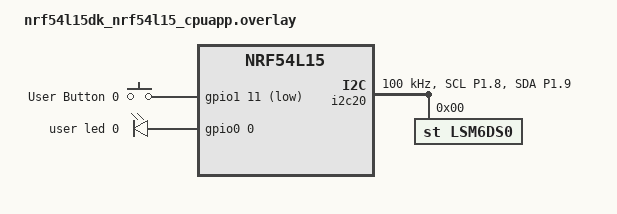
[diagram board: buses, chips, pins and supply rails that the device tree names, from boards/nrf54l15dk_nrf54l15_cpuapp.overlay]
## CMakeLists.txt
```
cmake_minimum_required(VERSION 3.20.0)

find_package(Zephyr REQUIRED HINTS $ENV{ZEPHYR_BASE})
project(ThaneHunt_Project)

# NORDIC SDK APP START
target_sources(app PRIVATE src/main.c)

# Add the component app_ble
target_sources(app PRIVATE
    components/app_ble/app_ble.c)
target_include_directories(app
    PRIVATE
    ${CMAKE_CURRENT_SOURCE_DIR}/components/app_ble
)

# Add the component app_button
target_sources(app PRIVATE
    components/app_button/app_button.c)
target_include_directories(app
    PRIVATE
    ${CMAKE_CURRENT_SOURCE_DIR}/components/app_button
)

# Add the component app_hid
target_sources(app PRIVATE
    components/app_hid/app_hid.c)
target_include_directories(app
    PRIVATE
    ${CMAKE_CURRENT_SOURCE_DIR}/components/app_hid
)

if(CONFIG_IMU_LSM6DSO)
    # Add the component app_imu
    target_sources(app PRIVATE
        components/app_imu/app_imu.c)
    target_include_directories(app
        PRIVATE
        ${CMAKE_CURRENT_SOURCE_DIR}/components/app_imu
    )
endif()

# Add the component app_keycodes
target_sources(app PRIVATE
    components/app_keycodes/app_keycodes.c)
target_include_directories(app
    PRIVATE
    ${CMAKE_CURRENT_SOURCE_DIR}/components/app_keycodes
)

# Add the component app_sleep
target_sources(app PRIVATE
    components/app_sleep/app_sleep.c)
target_include_directories(app
    PRIVATE
    ${CMAKE_CURRENT_SOURCE_DIR}/components/app_sleep
)
```

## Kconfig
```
source "Kconfig.zephyr"

menu "ThaneHunt BLE HID KEYBOARD"

config PROJECT_VERSION
    string "Project version"
    default "0.0.0"
    help
      This option sets the version string for the ThaneHunt BLE HID KEYBOARD
      firmware. The version can be used in logs, advertising data, or exposed
      via Device Information Service.

config ENABLE_PASS_KEY_AUTH
	bool "enable the pass key authentication"
	default n
	help
	  This option enables support for the Security Manager Protocol
	  (SMP), making it possible to pair devices over LE, with this option enable the device will ask to enter a pin
	  or press a button to accept pairing to a host device.

config DEVICE_IDLE_TIMEOUT_SECONDS
	int "Device idle timeout (seconds)"
	default 30
	help
	  This option sets the duration of inactivity (in seconds) after which the device will enter a low-power idle state.
	  A value of 0 disables the idle timeout feature.

config IMU_LSM6DSO
	bool "Enable LSM6DSO IMU support"
	default y
	help
	  This option enables support for the LSM6DSO IMU sensor, allowing the device to read motion data from the sensor.

config NFC_OOB_PAIRING
	bool "Enable NFC OOB pairing"
	depends on HAS_HW_NRF_NFCT
	default n
	select NFC_T2T_NRFXLIB
	select NFC_NDEF
	select NFC_NDEF_MSG
	select NFC_NDEF_RECORD
	select NFC_NDEF_LE_OOB_REC

config SETTINGS
	default y

config ZMS
	default y if (SOC_FLASH_NRF_RRAM || SOC_FLASH_NRF_MRAM)

config NVS
	default y if !(SOC_FLASH_NRF_RRAM || SOC_FLASH_NRF_MRAM)

endmenu
```

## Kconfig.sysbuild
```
source "share/sysbuild/Kconfig"

config NRF_DEFAULT_IPC_RADIO
	default y
```

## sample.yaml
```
sample:
  description: ThaneHunt project for BLE HID Keybpoard
  name: ThaneHunt_Project
tests:
  sample.bluetooth.peripheral_hids_keyboard.build:
    sysbuild: true
    build_only: true
    integration_platforms:
      - xiao/nrf54l15/nrf54l15/cpuapp
      - nrf54l15dk/nrf54l15/cpuapp
      - panb511evb/nrf54l15/cpuapps
    platform_allow:
      - xiao/nrf54l15/nrf54l15/cpuapp
      - nrf54l15dk/nrf54l15/cpuapp
      - panb511evb/nrf54l15/cpuapp
    tags:
      - bluetooth
      - ci_build
      - sysbuild
```

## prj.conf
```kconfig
CONFIG_BT=y
CONFIG_BT_MAX_CONN=1
CONFIG_BT_MAX_PAIRED=1
CONFIG_BT_SMP=y
CONFIG_BT_ATT_TX_COUNT=5
CONFIG_BT_PERIPHERAL=y
CONFIG_BT_DEVICE_NAME="ThaneHunt_BLE_HID_KEYBOARD"
CONFIG_BT_DEVICE_APPEARANCE=961

CONFIG_BT_BAS=y
CONFIG_BT_HIDS=y
CONFIG_BT_HIDS_MAX_CLIENT_COUNT=1
CONFIG_BT_HIDS_DEFAULT_PERM_RW_ENCRYPT=y
CONFIG_BT_SMP_ALLOW_UNAUTH_OVERWRITE=y
CONFIG_BT_ID_UNPAIR_MATCHING_BONDS=y
CONFIG_BT_GATT_UUID16_POOL_SIZE=40
CONFIG_BT_GATT_CHRC_POOL_SIZE=20

CONFIG_BT_CONN_CTX=y

CONFIG_BT_DIS=y
CONFIG_BT_DIS_MANUF_NAME=y
CONFIG_BT_DIS_MANUF_NAME_STR="BLE_HID_KEYBOARD"
CONFIG_BT_DIS_PNP=y
CONFIG_BT_DIS_PNP_VID_SRC=2
CONFIG_BT_DIS_PNP_VID=0x1915
CONFIG_BT_DIS_PNP_PID=0xEEEF
CONFIG_BT_DIS_PNP_VER=0x0100

CONFIG_MAIN_STACK_SIZE=16384
CONFIG_SYSTEM_WORKQUEUE_STACK_SIZE=4096

CONFIG_BT_SETTINGS=y
CONFIG_FLASH=y
CONFIG_FLASH_PAGE_LAYOUT=y
CONFIG_FLASH_MAP=y

CONFIG_LOG=y
CONFIG_UART_ASYNC_API=y
CONFIG_HEAP_MEM_POOL_SIZE=4096
CONFIG_UART_20_ASYNC=y
CONFIG_UART_NRFX_UARTE_ENHANCED_RX=y

CONFIG_I2C=y
CONFIG_GPIO=y
CONFIG_SENSOR=y
CONFIG_NEWLIB_LIBC=y
CONFIG_NEWLIB_LIBC_FLOAT_PRINTF=y
CONFIG_HWINFO=y
CONFIG_POWEROFF=y

CONFIG_IMU_LSM6DSO=y
CONFIG_ENABLE_PASS_KEY_AUTH=y
CONFIG_PROJECT_VERSION="1.0.0"
CONFIG_DEVICE_IDLE_TIMEOUT_SECONDS=30

CONFIG_BT_FIXED_PASSKEY=y
CONFIG_LSM6DS0=n
```

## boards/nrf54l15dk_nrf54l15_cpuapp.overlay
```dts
 / {
     aliases {
         lsm6ds0i2c = &i2c20;
     };
 };

 / {
     buttons {
         compatible = "gpio-keys";
         button_0: button_0 {
             gpios = <&gpio1 11 (GPIO_PULL_UP | GPIO_ACTIVE_LOW)>;
             label = "User Button 0";
         };
     };
 };
 &gpio1 {
     sense-edge-mask = <(BIT(11))>;
 };

 / {
     leds {
         compatible = "gpio-leds";
         led_0: led_0 {
             label = "user led 0";
             gpios = <&gpio0 0 GPIO_ACTIVE_HIGH>;  // example pin
         };
     };
 };


 &i2c20 {
     status = "okay";
     pinctrl-names = "default", "sleep";
     pinctrl-0 = <&i2c20_default>;
     pinctrl-1 = <&i2c20_sleep>;
     clock-frequency = <I2C_BITRATE_STANDARD>;

     lsm6ds0@0 {
         compatible = "st,lsm6ds0";
         reg = <0x0>;
     };
 };

 &pinctrl {
     i2c20_default: i2c20_default {
         group1 {
             psels = <NRF_PSEL(TWIM_SCL, 1, 8)>, <NRF_PSEL(TWIM_SDA, 1, 9)>;
         };
     };

     i2c20_sleep: i2c20_sleep {
         group1 {
             psels = <NRF_PSEL(TWIM_SCL, 1, 8)>;
         };
     };
 };
```

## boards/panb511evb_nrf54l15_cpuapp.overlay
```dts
 / {
     chosen {
         nordic,nus-uart = &uart30;
     };
 };

 &uart30 {
     status = "okay";
 };

 / {
     aliases {
         lsm6ds0i2c = &i2c20;
     };
 };

 / {
     buttons {
         compatible = "gpio-keys";
         button_0: button_0 {
             gpios = <&gpio1 11 (GPIO_PULL_UP | GPIO_ACTIVE_LOW)>;
             label = "User Button 0";
         };
     };
 };
 &gpio1 {
     sense-edge-mask = <(BIT(11))>;
 };

 / {
     leds {
         compatible = "gpio-leds";
         led_0: led_0 {
             label = "user led 0";
             gpios = <&gpio0 0 GPIO_ACTIVE_HIGH>;  // example pin
         };
     };
 };


 &i2c20 {
     status = "okay";
     pinctrl-names = "default", "sleep";
     pinctrl-0 = <&i2c20_default>;
     pinctrl-1 = <&i2c20_sleep>;
     clock-frequency = <I2C_BITRATE_STANDARD>;

     lsm6ds0@0 {
         compatible = "st,lsm6ds0";
         reg = <0x0>;
     };
 };

 &pinctrl {
     i2c20_default: i2c20_default {
         group1 {
             psels = <NRF_PSEL(TWIM_SCL, 1, 8)>, <NRF_PSEL(TWIM_SDA, 1, 9)>;
         };
     };

     i2c20_sleep: i2c20_sleep {
         group1 {
             psels = <NRF_PSEL(TWIM_SCL, 1, 8)>;
         };
     };
 };
```

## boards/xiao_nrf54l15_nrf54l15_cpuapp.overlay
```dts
/ {
    aliases {
        lsm6ds0i2c = &i2c30;
    };
};

&lsm6dso {
    status = "disabled";
};


&i2c30 {
    clock-frequency = <I2C_BITRATE_FAST>;
};

&i2c22 {
    status = "disabled";
};

/ {
    buttons {
        compatible = "gpio-keys";
        button_0: button_0 {
            gpios = <&gpio0 0 (GPIO_PULL_UP | GPIO_ACTIVE_LOW)>;
            label = "User Button 0";
        };
    };
};
&gpio0 {
    status = "okay";
    sense-edge-mask = <(BIT(0))>;
};

/ {
    leds {
        compatible = "gpio-leds";
        led_0: led_0 {
            label = "user led 0";
            gpios = <&gpio2 0 GPIO_ACTIVE_LOW>;  // example pin
        };
    };
};
```

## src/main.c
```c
/*
Name : main

Description :
	Main entry point for the BLE HID keyboard application on Zephyr RTOS.
	This file coordinates initialization of GPIO buttons/LEDs, the HID
	service, and the Bluetooth stack. It optionally registers passkey
	authentication callbacks, starts the button handling thread, and
	manages system status indicators. The main loop provides LED activity
	feedback during advertising and simulates periodic battery service
	updates.

Date : 2025-09-14

Developer : Engineer Akbar Shah
*/

#include <zephyr/kernel.h>
#include <zephyr/logging/log.h>

#include "app_ble.h"
#include "app_button.h"
#include "app_hid.h"

#if CONFIG_IMU_LSM6DSO
#include "app_imu.h"
#endif

LOG_MODULE_REGISTER(MAIN);

int main(void)
{
	int err;

	LOG_INF("Starting BLE HIDS keyboard VERSION: [%s]\n\r", CONFIG_PROJECT_VERSION);

	init_user_buttons();
	k_msleep(100); // Allow time for button GPIOs to stabilize

#if (CONFIG_ENABLE_PASS_KEY_AUTH)
	err = bt_register_auth_callbacks();
	if (err)
		return 0;
#endif
	k_msleep(100);
	hid_init();
	k_msleep(100);
	err = enable_bt();
	if (err)
		return 0;

	k_msleep(100);
	button_thread_start();

	k_msleep(100); 

#if CONFIG_IMU_LSM6DSO
	err = imu_lsm6dso_init();
	if (err != 0)
		return 0;
#endif
	bool is_led_off = false;

	for (;;)
	{
		if (is_adv)
		{
			is_led_off = false;
			user_led_toggle();
		}
		else
		{
			if (!is_led_off)
			{
				is_led_off = true;
				user_led_turn_off();
			}
		}
#if CONFIG_IMU_LSM6DSO
		if (imu_power_down)
		{
			k_msleep(1000);
			continue;
		}
		imu_readDisplay_raw_data();
#endif
		// 		/* Battery level simulation */
		bas_notify();

		k_msleep(1000);
	}
}
```
